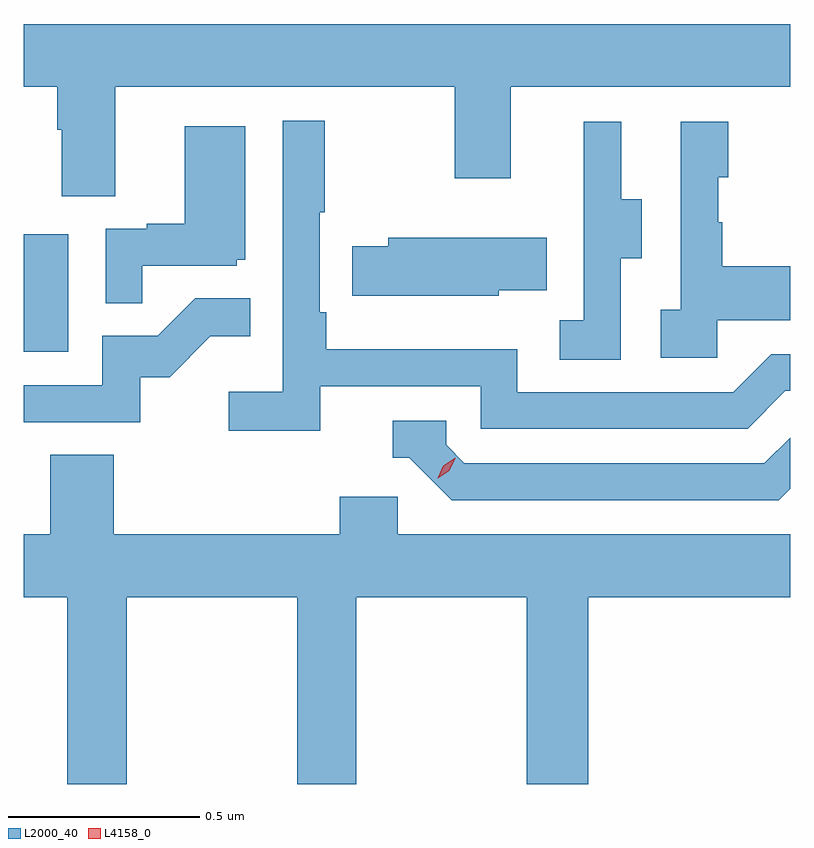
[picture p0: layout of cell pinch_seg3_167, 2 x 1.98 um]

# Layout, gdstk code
import gdstk
lib = gdstk.Library(unit=1e-6, precision=1e-09)
def R(c, l, rs):  # rectangles x0, y0, x1, y1
    for r in rs: c.add(gdstk.rectangle(r[:2], r[2:], *l))
def P(c, l, *ps):  # polygons
    for p in ps: c.add(gdstk.Polygon(p, *l))
L2000_40 = (2000, 40)
L4158_0 = (4158, 0)

pinch_seg3_167 = lib.new_cell('pinch_seg3_167')
R(pinch_seg3_167, L2000_40, [(1108.646,712.212,1108.762,712.519)])
P(pinch_seg3_167, L2000_40, [(1108.885,712.904),(1109.77,712.904),(1109.77,712.665),(1109.917,712.665),(1109.917,712.904),(1110.646,712.904),(1110.646,713.068),(1108.646,713.068),(1108.646,712.904),(1108.733,712.904),(1108.733,712.792),(1108.745,712.792),(1108.745,712.618),(1108.885,712.618)],
  [(1109.42,712.122),(1109.838,712.122),(1109.838,712.011),(1110.535,712.011),(1110.634,712.11),(1110.646,712.11),(1110.646,712.206),(1110.597,712.206),(1110.498,712.107),(1109.934,712.107),(1109.934,712.219),(1109.435,712.219),(1109.435,712.315),(1109.418,712.315),(1109.418,712.576),(1109.431,712.576),(1109.431,712.816),(1109.322,712.816),(1109.322,712.108),(1109.181,712.108),(1109.181,712.006),(1109.42,712.006)],
  [(1110.204,712.456),(1110.259,712.456),(1110.259,712.611),(1110.205,712.611),(1110.205,712.813),(1110.107,712.813),(1110.107,712.599),(1110.108,712.599),(1110.108,712.295),(1110.045,712.295),(1110.045,712.192),(1110.204,712.192)],
  [(1110.456,712.295),(1110.646,712.295),(1110.646,712.435),(1110.469,712.435),(1110.469,712.55),(1110.459,712.55),(1110.459,712.668),(1110.484,712.668),(1110.484,712.813),(1110.36,712.813),(1110.36,712.322),(1110.309,712.322),(1110.309,712.197),(1110.456,712.197)],
  [(1108.955,712.437),(1109.202,712.437),(1109.202,712.452),(1109.224,712.452),(1109.224,712.801),(1109.066,712.801),(1109.066,712.546),(1108.967,712.546),(1108.967,712.533),(1108.86,712.533),(1108.86,712.339),(1108.955,712.339)],
  [(1109.886,712.373),(1110.011,712.373),(1110.011,712.51),(1109.597,712.51),(1109.597,712.488),(1109.503,712.488),(1109.503,712.359),(1109.614,712.359),(1109.614,712.358),(1109.886,712.358)],
  [(1108.95,712.146),(1109.026,712.146),(1109.133,712.253),(1109.237,712.253),(1109.237,712.352),(1109.093,712.352),(1108.995,712.254),(1108.851,712.254),(1108.851,712.125),(1108.646,712.125),(1108.646,712.029),(1108.95,712.029)],
  [(1110.646,711.855),(1110.646,711.988),(1110.579,711.921),(1109.796,711.921),(1109.748,711.969),(1109.748,712.032),(1109.609,712.032),(1109.609,711.936),(1109.652,711.936),(1109.763,711.825),(1110.616,711.825)],
  [(1108.914,711.572),(1109.359,711.572),(1109.359,711.084),(1109.514,711.084),(1109.514,711.572),(1109.959,711.572),(1109.959,711.084),(1110.119,711.084),(1110.119,711.572),(1110.646,711.572),(1110.646,711.736),(1109.622,711.736),(1109.622,711.834),(1109.471,711.834),(1109.471,711.736),(1108.88,711.736),(1108.88,711.944),(1108.715,711.944),(1108.715,711.736),(1108.646,711.736),(1108.646,711.572),(1108.759,711.572),(1108.759,711.084),(1108.914,711.084)])
P(pinch_seg3_167, L4158_0, [(1109.726,711.882),(1109.726,711.882),(1109.741,711.915),(1109.772,711.936),(1109.772,711.936),(1109.772,711.935),(1109.756,711.902),(1109.726,711.882)])

lib.write_gds('pinch_seg3_167.gds')
